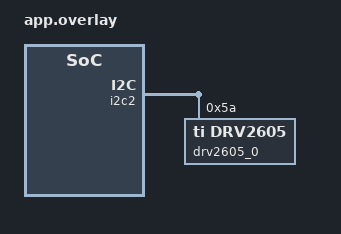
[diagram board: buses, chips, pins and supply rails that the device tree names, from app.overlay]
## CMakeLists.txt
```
#/Users/elvishuynh/Icarus/ncs-workspace/apollos-lyre/blinky/CMakeLists.txt

cmake_minimum_required(VERSION 3.20.0)

list(APPEND ZEPHYR_EXTRA_MODULES ${CMAKE_CURRENT_SOURCE_DIR}/../nrf-drv2605-driver)
message(STATUS "ZEPHYR_EXTRA_MODULES: ${ZEPHYR_EXTRA_MODULES}")
foreach(module ${ZEPHYR_EXTRA_MODULES})
  message(STATUS "Processing extra module: ${module}")
endforeach()

find_package(Zephyr REQUIRED HINTS $ENV{ZEPHYR_BASE})
project(blinky)

# NORDIC SDK APP START
target_sources(app PRIVATE src/main.c)
# NORDIC SDK APP END
```

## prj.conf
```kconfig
# Enable DRV2605
CONFIG_SENSOR=y
CONFIG_DRV2605=y

# Debug output to J-LINK RTT VIEWER
CONFIG_LOG=y
CONFIG_DRV2605_LOG_LEVEL_DBG=y
CONFIG_USE_SEGGER_RTT=y
CONFIG_RTT_CONSOLE=y
CONFIG_UART_CONSOLE=n
```

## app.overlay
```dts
&i2c2 {
    drv2605_0: drv2605@5a {
        compatible = "ti,drv2605";
        reg = <0x5a>;

        /* Library to use, 0 = Empty, 1-5 are ERM, 6 is LRA. */
        library = <2>;

        /* Switch to standby mode after idling for 1000ms */
        standby-ms = <1000>;
    };
};
```

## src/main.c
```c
/* /Users/elvishuynh/Icarus/ncs-workspace/apollos-lyre/blinky/src/main.c */

#include <zephyr/kernel.h>
#include <zephyr/drivers/sensor.h>
#include <zephyr/logging/log.h>
#include <nrf/drivers/drv2605.h>

LOG_MODULE_REGISTER(main, LOG_LEVEL_DBG);

/* Delay between haptic feedback in milliseconds */
#define SLEEP_TIME_MS   1000

/* Get the device tree node label for the DRV2605 device */
#define DRV2605_NODE DT_NODELABEL(drv2605_0)

/* Maximum number of attempts to check driver readiness */
#define MAX_INIT_ATTEMPTS 10

int main(void)
{
    int ret;

    LOG_INF("Starting haptic feedback application");

    /* Initialize the haptic device */
    const struct device *haptic_dev = DEVICE_DT_GET(DRV2605_NODE);
    if (!device_is_ready(haptic_dev)) {
        LOG_ERR("Haptic device not ready");
        return -EINVAL;
    }

    LOG_INF("Haptic device is ready. Waiting for driver to initialize...");

    /* Wait until the driver is ready */
    int attempts = 0;
    while (!drv2605_is_ready(haptic_dev) && attempts < MAX_INIT_ATTEMPTS) {
        LOG_DBG("Waiting for DRV2605 driver to be ready (Attempt %d/%d)", attempts + 1, MAX_INIT_ATTEMPTS);
        k_msleep(100);  // Wait 100ms before checking again
        attempts++;
    }

    if (!drv2605_is_ready(haptic_dev)) {
        LOG_ERR("DRV2605 driver failed to initialize within expected time.");
        return -EIO;
    }

    LOG_INF("DRV2605 driver is ready.");

    while (1) {
        /* Trigger haptic feedback */
        struct sensor_value val;

        /* Set the waveform effect */
        val.val1 = 0;   // Slot 0
        val.val2 = 1;   // Effect number (choose desired effect)
        ret = sensor_attr_set(haptic_dev, SENSOR_CHAN_ALL,
                              (enum sensor_attribute)DRV2605_ATTR_WAVEFORM, &val);
        if (ret < 0) {
            LOG_ERR("Failed to set waveform: %d", ret);
            // Instead of returning, continue to retry
        }

        /* End the waveform sequence */
        val.val1 = 1;   // Slot 1
        val.val2 = 0;   // End of sequence
        ret = sensor_attr_set(haptic_dev, SENSOR_CHAN_ALL,
                              (enum sensor_attribute)DRV2605_ATTR_WAVEFORM, &val);
        if (ret < 0) {
            LOG_ERR("Failed to end waveform sequence: %d", ret);
            // Continue to retry
        }

        /* Start the haptic effect */
        ret = sensor_attr_set(haptic_dev, SENSOR_CHAN_ALL,
                              (enum sensor_attribute)DRV2605_ATTR_GO, &val);
        if (ret < 0) {
            LOG_ERR("Failed to start haptic effect: %d", ret);
            // Continue to retry
        } else {
            LOG_INF("Haptic feedback triggered");
        }

        /* Wait for the specified delay before triggering again */
        k_msleep(SLEEP_TIME_MS);
    }

    return 0;
}
```
